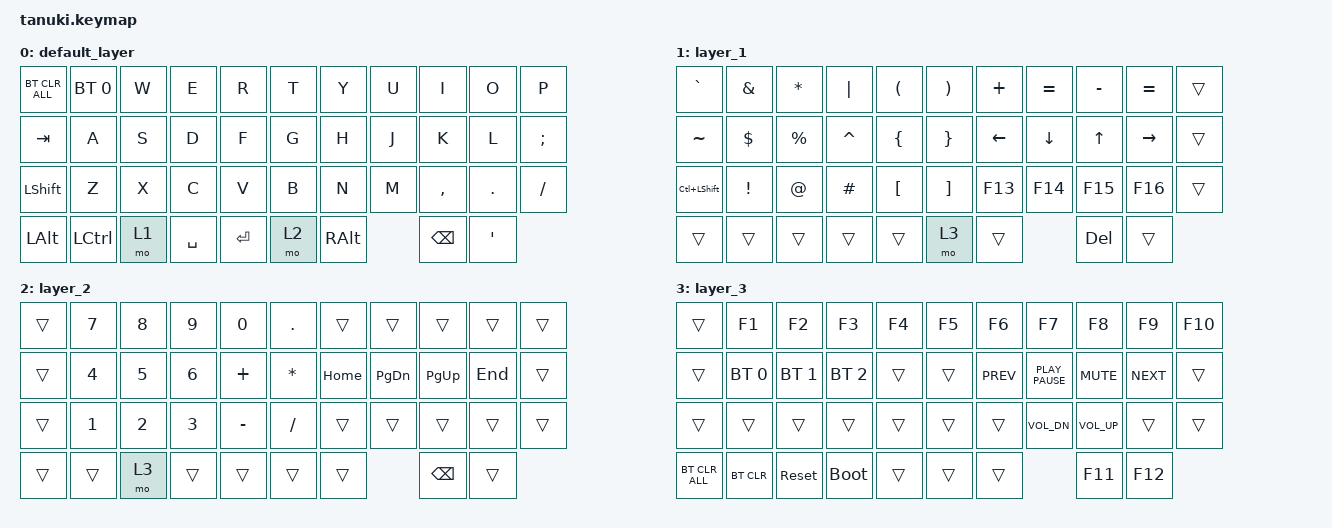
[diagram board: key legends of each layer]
#include <behaviors.dtsi>
#include <dt-bindings/zmk/bt.h>
#include <dt-bindings/zmk/keys.h>

/ {
    keymap {
        compatible = "zmk,keymap";

        default_layer {
            bindings = <
&bt BT_CLR_ALL  &bt BT_SEL 0  &kp W  &kp E      &kp R    &kp T  &kp Y     &kp U  &kp I          &kp O       &kp P
&kp TAB         &kp A         &kp S  &kp D      &kp F    &kp G  &kp H     &kp J  &kp K          &kp L       &kp SEMI
&kp LEFT_SHIFT  &kp Z         &kp X  &kp C      &kp V    &kp B  &kp N     &kp M  &kp COMMA      &kp PERIOD  &kp SLASH
&kp LEFT_ALT    &kp LCTRL     &mo 1  &kp SPACE  &kp RET  &mo 2  &kp RALT         &kp BACKSPACE  &kp SQT
            >;
        };

        layer_1 {
            bindings = <
&kp GRAVE      &kp AMPERSAND  &kp ASTRK    &kp PIPE   &kp LPAR  &kp RPAR         &kp PLUS  &kp EQUAL  &kp MINUS  &kp EQUAL  &trans
&kp TILDE      &kp DLLR       &kp PERCENT  &kp CARET  &kp LBRC  &kp RIGHT_BRACE  &kp LEFT  &kp DOWN   &kp UP     &kp RIGHT  &trans
&kp LC(LSHFT)  &kp EXCL       &kp AT       &kp HASH   &kp LBKT  &kp RBKT         &kp F13   &kp F14    &kp F15    &kp F16    &trans
&trans         &trans         &trans       &trans     &trans    &mo 3            &trans               &kp DEL    &trans
            >;
        };

        layer_2 {
            bindings = <
&trans  &kp N7  &kp N8  &kp N9  &kp N0     &kp DOT    &trans    &trans         &trans         &trans   &trans
&trans  &kp N4  &kp N5  &kp N6  &kp PLUS   &kp ASTRK  &kp HOME  &kp PAGE_DOWN  &kp PAGE_UP    &kp END  &trans
&trans  &kp N1  &kp N2  &kp N3  &kp MINUS  &kp SLASH  &trans    &trans         &trans         &trans   &trans
&trans  &trans  &mo 3   &trans  &trans     &trans     &trans                   &kp BACKSPACE  &trans
            >;
        };

        layer_3 {
            bindings = <
&trans          &kp F1        &kp F2        &kp F3        &kp F4  &kp F5  &kp F6      &kp F7            &kp F8        &kp F9      &kp F10
&trans          &bt BT_SEL 0  &bt BT_SEL 1  &bt BT_SEL 2  &trans  &trans  &kp K_PREV  &kp K_PLAY_PAUSE  &kp K_MUTE    &kp K_NEXT  &trans
&trans          &trans        &trans        &trans        &trans  &trans  &trans      &kp C_VOL_DN      &kp C_VOL_UP  &trans      &trans
&bt BT_CLR_ALL  &bt BT_CLR    &sys_reset    &bootloader   &trans  &trans  &trans                        &kp F11       &kp F12
            >;
        };
    };
};
